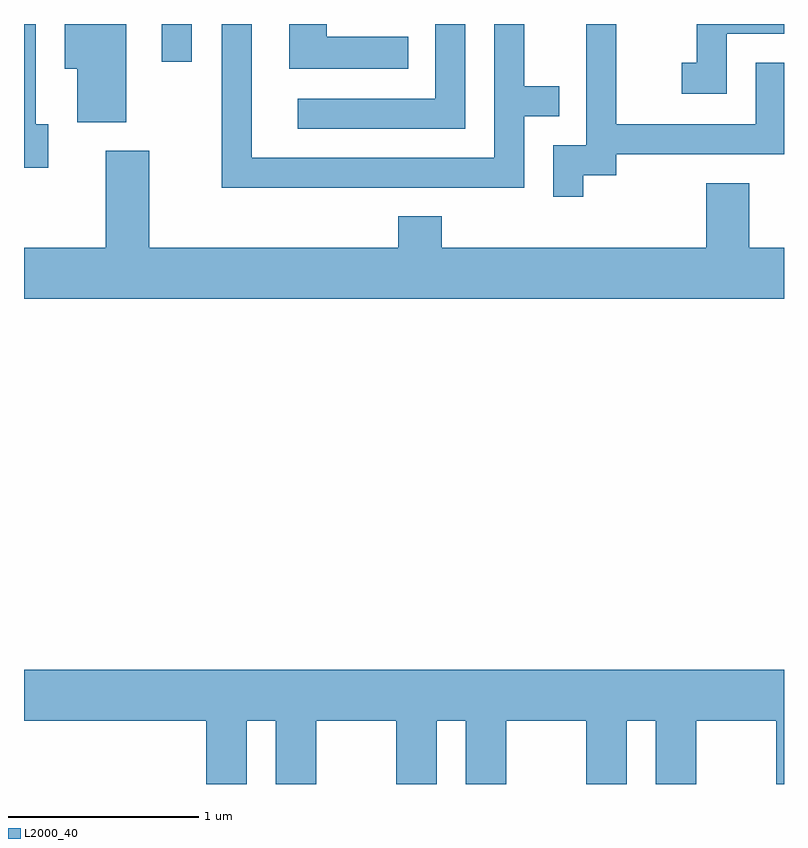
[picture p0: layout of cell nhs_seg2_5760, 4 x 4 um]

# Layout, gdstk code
import gdstk
lib = gdstk.Library(unit=1e-6, precision=1e-09)
def R(c, l, rs):  # rectangles x0, y0, x1, y1
    for r in rs: c.add(gdstk.rectangle(r[:2], r[2:], *l))
def P(c, l, *ps):  # polygons
    for p in ps: c.add(gdstk.Polygon(p, *l))
L2000_40 = (2000, 40)

nhs_seg2_5760 = lib.new_cell('nhs_seg2_5760')
R(nhs_seg2_5760, L2000_40, [(356.336,1009.603,356.494,1009.802)])
P(nhs_seg2_5760, L2000_40, [(355.739,1009.274),(355.674,1009.274),(355.674,1009.802),(355.611,1009.802),(355.611,1009.046),(355.739,1009.046)],
  [(358.244,1009.316),(358.428,1009.316),(358.428,1009.474),(358.244,1009.474),(358.244,1009.802),(358.086,1009.802),(358.086,1009.099),(356.809,1009.099),(356.809,1009.802),(356.651,1009.802),(356.651,1008.941),(358.244,1008.941)],
  [(356.149,1009.802),(355.826,1009.802),(355.826,1009.566),(355.891,1009.566),(355.891,1009.286),(356.149,1009.286)],
  [(359.309,1009.751),(359.611,1009.751),(359.611,1009.802),(359.151,1009.802),(359.151,1009.599),(359.073,1009.599),(359.073,1009.436),(359.309,1009.436)],
  [(358.554,1009.006),(358.729,1009.006),(358.729,1009.116),(359.611,1009.116),(359.611,1009.599),(359.461,1009.599),(359.461,1009.274),(358.729,1009.274),(358.729,1009.802),(358.571,1009.802),(358.571,1009.164),(358.396,1009.164),(358.396,1008.893),(358.554,1008.893)],
  [(357.633,1009.734),(357.204,1009.734),(357.204,1009.802),(357.006,1009.802),(357.006,1009.566),(357.633,1009.566)],
  [(357.934,1009.802),(357.776,1009.802),(357.776,1009.409),(357.053,1009.409),(357.053,1009.251),(357.934,1009.251)],
  [(359.611,1008.624),(359.429,1008.624),(359.429,1008.964),(359.201,1008.964),(359.201,1008.624),(357.809,1008.624),(357.809,1008.789),(357.581,1008.789),(357.581,1008.624),(356.269,1008.624),(356.269,1009.134),(356.041,1009.134),(356.041,1008.624),(355.611,1008.624),(355.611,1008.356),(359.611,1008.356)],
  [(356.784,1006.136),(356.936,1006.136),(356.936,1005.802),(357.149,1005.802),(357.149,1006.136),(357.571,1006.136),(357.571,1005.802),(357.784,1005.802),(357.784,1006.136),(357.936,1006.136),(357.936,1005.802),(358.149,1005.802),(358.149,1006.136),(358.571,1006.136),(358.571,1005.802),(358.784,1005.802),(358.784,1006.136),(358.936,1006.136),(358.936,1005.802),(359.149,1005.802),(359.149,1006.136),(359.571,1006.136),(359.571,1005.802),(359.611,1005.802),(359.611,1006.404),(355.611,1006.404),(355.611,1006.136),(356.571,1006.136),(356.571,1005.802),(356.784,1005.802)])

lib.write_gds('nhs_seg2_5760.gds')
